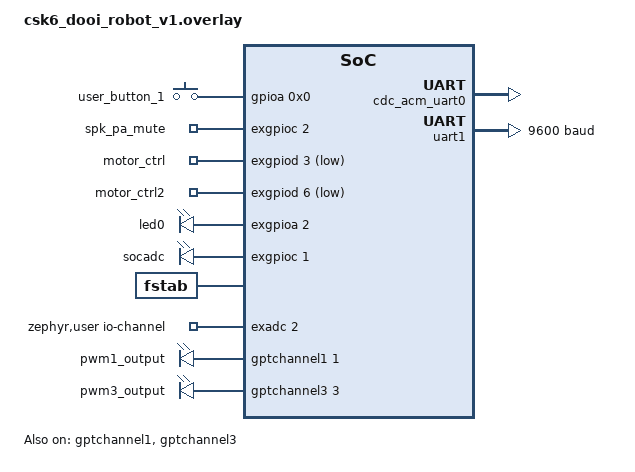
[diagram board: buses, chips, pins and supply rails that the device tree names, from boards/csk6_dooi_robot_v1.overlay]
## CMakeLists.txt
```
# SPDX-License-Identifier: Apache-2.0

cmake_minimum_required(VERSION 3.20.0)

set(SDK_ROOT_PATH   ${CMAKE_CURRENT_SOURCE_DIR}/../../..)
set(BOARD_ROOT      ${SDK_ROOT_PATH})
set(SNIPPET_ROOT    ${SDK_ROOT_PATH}/boards)

list(APPEND ZEPHYR_EXTRA_MODULES ${SDK_ROOT_PATH}/components)
list(APPEND ZEPHYR_EXTRA_MODULES ${SDK_ROOT_PATH}/components/audioplayer)

find_package(Zephyr REQUIRED HINTS $ENV{ZEPHYR_BASE})
project(llm_control)

target_sources(app PRIVATE 
        src/main.c 
        # src/aiui_nlp_consumer.c
        )

target_link_libraries(app PRIVATE ls_chat lisa)

add_subdirectory(src/app_ui/)
add_subdirectory(src/app_connect)
add_subdirectory(src/app_obj_recognition)
add_subdirectory(src/app_camera)
add_subdirectory(src/app_chat)
add_subdirectory(src/app_wifi_qrcode_scan)
add_subdirectory(src/app_dev_qrcode_scan)
add_subdirectory(src/app_download)
add_subdirectory(src/app_http_server)
add_subdirectory(src/app_peripheral)
add_subdirectory(src/app_ble_connect)
add_subdirectory(lib/ico)

zephyr_include_directories(src/)

if(CONFIG_APPLICATION_PACK_IMAGES)
    add_subdirectory(image)
endif()

zephyr_library_sources_ifdef(CONFIG_GCL_COMP_RES       resource/resource.c)
zephyr_include_directories_ifdef(CONFIG_GCL_COMP_RES   resource)
# target_include_directories(app PRIVATE src)
zephyr_library_link_libraries(lsf_client)
```

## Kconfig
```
# SPDX-License-Identifier: Apache-2.0

config APPLICATION_PACK_IMAGES
	bool "Package all algorithm resources, CP firmware and AP firmware into one image file"
	default n

config DRIVER_NON_BLOCK_INIT
   bool "Driver Non-Block Init"
   default y

config WAKEUP_DEBUG
   bool "wakeup debug enable"
   default n

config WDT_MGR
   bool "wdt enable"
   default n
   select WATCHDOG
   select WDT_CSK6

config SNTP_SERVER1
    string "SNTP Server"
    default "ntp.aliyun.com"

config SNTP_SERVER2
    string "SNTP Server"
    default "time1.cloud.tencent.com"

config SNTP_SERVER3
    string "SNTP Server"
    default "ntp.tuna.tsinghua.edu.cn"

config SNTP_SERVER4
    string "SNTP Server"
    default "ntp.ntsc.ac.cn"

config SNTP_SERVER5
    string "SNTP Server"
    default "cn.ntp.org.cn"

config HF_EXHIBITION
    bool "FOR hefei Exhibition"
    default n

config UART_DISP_EN
    bool "UART DISP ENABLE"
    default n

if APPLICATION_PACK_IMAGES

	#custon linker
	config HAVE_CUSTOM_LINKER_SCRIPT
		default y

	config CUSTOM_LINKER_SCRIPT
		default "image/linker_flash_partitions.ld"

	rsource "image/Kconfig.images"

endif

rsource "Kconfig.capability"
source "Kconfig.zephyr"
```

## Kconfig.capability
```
# SPDX-License-Identifier: Apache-2.0


config CAPABILITY_WAKEUP
	bool "Enable voice wake-up"
    select GCP
    select GCL_COMP_RES
    select GCS_SERVICE_WAKEUP
    select GCL_WAKEUP
	default n

config CAPABILITY_SPD
	bool "Enable SPD"
    select GCP
    select GCL_COMP_RES
    select GCS_SERVICE_SPD
    select GCL_SPD
	default n

config CAPABILITY_QRCODE
	bool "Enable qrcode"
    select GCP
    select GCL_COMP_RES
    select GCS_SERVICE_QRCODE
    select GCL_QRCODE
	default n

if CAPABILITY_WAKEUP
    config GCL_HEAP_SRAM_SIZE
        default 40960

    config GCL_HEAP_PSRAM_SIZE
        default 153600

    config GCL_HEAP_SRAM_NOCACHE_SIZE
        default 20480

    config GCL_HEAP_PSRAM_NOCACHE_SIZE
        default 20480
endif
```

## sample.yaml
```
sample:
  name: LLM_pic
tests:
  apps.LLM_pic:
    build_only: true
    platform_allow:
      - csk6_duomotai_devkit
```

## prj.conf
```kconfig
CONFIG_MAIN_STACK_SIZE=4096
CONFIG_HEAP_MEM_POOL_SIZE=61440
# CONFIG_CSK_HEAP_MEM_POOL_SIZE=102400
CONFIG_SYSTEM_WORKQUEUE_STACK_SIZE=6144

CONFIG_WIFI_MGR=y
CONFIG_WIFI_MGR_WORKQ_STACK=2048
CONFIG_WIFI_CTRL_STACK_SIZE=2048
CONFIG_CSK_WIFI_NET_ALLOC_PSRAM=y

CONFIG_DUOMOTAI_COMPONENTS=y

# shell
CONFIG_SHELL_LOG_BACKEND=n
CONFIG_SHELL_THREAD_PRIORITY_OVERRIDE=y
CONFIG_SHELL_THREAD_PRIORITY=10

# lisa player
CONFIG_LISA_PLAYER=y
CONFIG_LISA_HEAP_ARENA_SIZE=1280000

# mDNS 核心配置
CONFIG_MDNS_RESPONDER=y
CONFIG_DNS_SD=y
CONFIG_NET_HOSTNAME_ENABLE=y
CONFIG_NET_HOSTNAME="dooi"  # 自定义设备名

# 多播支持
CONFIG_NET_IPV4_IGMP=y  # IPv4多播

# Sockets
CONFIG_NET_SOCKETS=y
CONFIG_NET_SOCKETS_POSIX_NAMES=y
CONFIG_NET_SOCKETS_POLL_MAX=4
CONFIG_NET_CONTEXT_RCVTIMEO=y

CONFIG_NET_PKT_RX_COUNT=600
CONFIG_NET_PKT_TX_COUNT=600
CONFIG_NET_BUF_RX_COUNT=600
CONFIG_NET_BUF_TX_COUNT=600

CONFIG_NET_RX_STACK_SIZE=4096
CONFIG_NET_TX_STACK_SIZE=4096
CONFIG_NET_CONTEXT_NET_PKT_POOL=y
CONFIG_NET_TCP_WORKQ_STACK_SIZE=4096

CONFIG_DNS_RESOLVER_ADDITIONAL_QUERIES=2
CONFIG_DNS_RESOLVER_MAX_SERVERS=5
CONFIG_DNS_NUM_CONCUR_QUERIES=5
CONFIG_DNS_RESOLVER_ADDITIONAL_BUF_CTR=4
CONFIG_NET_MAX_CONN=10
CONFIG_NET_MAX_CONTEXTS=10
CONFIG_POSIX_MAX_FDS=10
CONFIG_SNTP=y
# Logger
CONFIG_LOG=y
CONFIG_LOG_MODE_MINIMAL=n
CONFIG_LOG_MODE_DEFERRED=y
CONFIG_LOG_BUFFER_SIZE=10240
CONFIG_LOG_BACKEND_SHOW_COLOR=y
CONFIG_LOG_BACKEND_FORMAT_TIMESTAMP=y
CONFIG_LOG_BACKEND_UART=y
CONFIG_LOG_BACKEND_UART_OUTPUT_TEXT=y
CONFIG_LOG_PROCESS_THREAD_STACK_SIZE=1024

### NEWLIBC ###
CONFIG_NEWLIB_LIBC=y
CONFIG_NEWLIB_LIBC_FLOAT_PRINTF=y
CONFIG_NEWLIB_LIBC_FLOAT_SCANF=y
CONFIG_NEWLIB_LIBC_MIN_REQUIRED_HEAP_SIZE=4096

# csk heap
CONFIG_CSK_HEAP=y
CONFIG_CSK_HEAP_MEM_POOL_SIZE=819200
CONFIG_SYS_HEAP_AUTO=y

# IC MESSAGE配置
CONFIG_LSF=y
CONFIG_LSF_CLIENT=y
CONFIG_LSF_OS_ZEPHYR=y
CONFIG_LSF_IC_MESSAGE_EP_ID=5
# CONFIG_LOG_PRINTK=y

# CONFIG_PRINTK=y
CONFIG_FLASH=y
CONFIG_FLASH_SHELL=n
CONFIG_FLASH_MAP=y
CONFIG_FILE_SYSTEM=y
CONFIG_FLASH_PAGE_LAYOUT=y
CONFIG_FILE_SYSTEM_LITTLEFS=y
CONFIG_APPLICATION_PACK_IMAGES=y

CONFIG_GCP=y
CONFIG_DISK_MEMORY=n

CONFIG_CAPABILITY_WAKEUP=y
CONFIG_CAPABILITY_QRCODE=y
CONFIG_WEBUSB_DEBUG=n
CONFIG_DISK_MEMORY=n

CONFIG_GCS_WAKEUP_SERVICE_EVENT_STACK_SIZE=2000

CONFIG_GPIO=y
CONFIG_GPIO_CSK6_CH32V003=y

CONFIG_I2C=y
CONFIG_VIDEO=y
CONFIG_VIDEO_CSK6_DVP=y
CONFIG_VIDEO_GC0328=y

CONFIG_VIDEO_BUFFER_POOL_SZ_MAX=154000
CONFIG_VIDEO_BUFFER_POOL_NUM_MAX=3
CONFIG_VIDEO_CUSTOM_SECTION=y
CONFIG_VIDEO_CUSTOM_SECTION_NAME=".psram_section"

# auth check
CONFIG_MBEDTLS=y
CONFIG_MBEDTLS_BUILTIN=y
CONFIG_MBEDTLS_ENTROPY_ENABLED=y
CONFIG_CUSTOM_MBEDTLS_CFG_FILE=y
CONFIG_MBEDTLS_CFG_FILE="config-tls-generic.h"
CONFIG_MBEDTLS_SSL_MAX_CONTENT_LEN=4096
CONFIG_MBEDTLS_DEBUG=y
CONFIG_MBEDTLS_SERVER_NAME_INDICATION=y
CONFIG_NET_SOCKETS_SOCKOPT_TLS=n
CONFIG_NET_SOCKETS_TLS_MAX_CONTEXTS=6

CONFIG_HTTP_CLIENT=y

CONFIG_THREAD_RUNTIME_STATS=y
CONFIG_THREAD_NAME=y

# extension gpio
CONFIG_I2C=y
CONFIG_I2C_SHELL=n
CONFIG_I2C_CSK6=y
CONFIG_GPIO_CSK6_CH32V003=y
CONFIG_ADC=y
CONFIG_ADC_SHELL=n
CONFIG_ADC_CSK6_CH32V003=y
CONFIG_ADC_CSK6_CH32V003_THREAD_STACK_SIZE=512
CONFIG_PWM=y
# CONFIG_PWM_SHELL=n
# CONFIG_PWM_CSK6=n
CONFIG_PWM_CSK6_CH32V003=y

CONFIG_LV_Z_MEM_POOL_NUMBER_BLOCKS=8

CONFIG_LVGL=y
CONFIG_LV_MEM_CUSTOM=y
CONFIG_LV_USE_LOG=y
CONFIG_LV_LOG_LEVEL_USER=y
CONFIG_LV_USE_LABEL=y
CONFIG_LV_USE_BTN=y
CONFIG_LV_USE_IMG=y
CONFIG_LV_FONT_MONTSERRAT_14=y
CONFIG_LV_FONT_MONTSERRAT_48=y

CONFIG_GPIO=y
CONFIG_SPI=y
CONFIG_DISPLAY=y
CONFIG_DISPLAY_LOG_LEVEL_ERR=y

CONFIG_KSCAN=y
CONFIG_I2C=y
CONFIG_KSCAN_FT5336=y
CONFIG_KSCAN_FT5336_INTERRUPT=y

# 触摸驱动
# CONFIG_LV_Z_POINTER_KSCAN=y
# CONFIG_LV_Z_POINTER_KSCAN_DEV_NAME="FT5336"
# CONFIG_LV_Z_POINTER_KSCAN_SWAP_XY=n
# CONFIG_LV_Z_POINTER_KSCAN_INVERT_Y=n
# CONFIG_LV_Z_POINTER_KSCAN_INVERT_X=y

# 改配置为专为CSK6优化后的ST7789V驱动
# CONFIG_ST7789V_CSK6=y
CONFIG_DUAL_GC9A01_CSK6=y

# ST7789V默认被打开了，需要手动关闭
CONFIG_ST7789V=n

# zephyr原有的驱动也是可以用的，只是帧率没有优化后的高
# CONFIG_ST7789V=y
# 在驱动层可支持90度旋转
CONFIG_ST7789V_CSK6_ROTATE_90=n

# 使用优化后的驱动后，配置此宏可以使用专为优化驱动的LVGL适配层
CONFIG_LV_Z_DRIVER_CSK6_16BIT=y

# 如需要旋转90度的话，zephyr适配层也要配置该宏
# 因ST7789V的IC从GRAM中读取数据的方向不能改变，
# 如果使用驱动IC的方向旋转的话，可能出现斜方向的撕裂
# 但如果在驱动层使用90°旋转的话，则只会存在Y方向的撕裂，
# Y方向的撕裂可以通过加TE引脚来解决
CONFIG_LV_Z_DRIVER_CSK6_16BIT_ROTATE_90=n

CONFIG_LV_Z_DRIVER_CSK6_KSAN_FILTER_TIME_MS=50

# 双缓冲区会提高帧率，占会大量占用内存
# 在开启双缓冲区的情况下，确保LVGL线程不是协程，
# 且COFNIG_LV_Z_DRIVER_SPD2010_THREAD_PRIORITY的优先级必须要高于LVGL线程
# 否则将会发生死锁
# 
# CONFIG_LV_Z_DOUBLE_VDB=y
# CONFIG_LV_Z_DRIVER_CSK6_16BIT_THREAD_PRIORITY=1

CONFIG_LV_Z_VDB_SIZE=100

### 专为CSK6优化的LVGL适配层，可以自定义heap

# LVGL-ZEPHYR接口 自定义heap段
CONFIG_LV_Z_MEM_CUSTOM_SECTION=y
CONFIG_LV_Z_MEM_CUSTOM_SECTION_NAME=".psram_section"

# 自定义内存的大小配置，包含所有的LVGL对象  
CONFIG_LV_Z_MEM_POOL_MAX_SIZE=1024
CONFIG_LV_Z_MEM_POOL_NUMBER_BLOCKS=640

# 使用PSRAM的话，必须打开这个宏，这样所有的LVGL对象都从自定义段中分配内存  
CONFIG_LV_MEM_CUSTOM=y

## LVGL显存内存池配置，使用PSRAM的话 必须打开这个宏
CONFIG_LV_Z_BUFFER_ALLOC_DYNAMIC=y

CONFIG_LV_FONT_MONTSERRAT_20=n
CONFIG_LV_FONT_MONTSERRAT_18=n
CONFIG_LV_FONT_MONTSERRAT_12=n
# CONFIG_LV_USE_DEMO_BENCHMARK=y
# CONFIG_LV_USE_DEMO_WIDGETS=y
CONFIG_LV_COLOR_DEPTH_16=y
CONFIG_LV_COLOR_16_SWAP=n

# CONFIG_LV_USE_PERF_MONITOR=y
# CONFIG_LV_PERF_MONITOR_ALIGN_BOTTOM_RIGHT=y
CONFIG_LV_USE_PNG=y
CONFIG_LV_USE_SJPG=y
CONFIG_LV_USE_GIF=y

CONFIG_PRODUCT_ID_STRING="75471b7a-ae97-4048-bdc8-529c97cc713b"
CONFIG_SECRET_ID_STRING="56d6c961-725d-40d9-8028-2cc0158c7e58"

CONFIG_BASE64=y

CONFIG_VIDEO=y
CONFIG_VIDEO_CSK6_DVP=y
CONFIG_VIDEO_GC0328=y
CONFIG_VIDEO_BUFFER_POOL_SZ_MAX=154624
CONFIG_VIDEO_BUFFER_POOL_NUM_MAX=3
CONFIG_VIDEO_CUSTOM_SECTION=y
CONFIG_VIDEO_CUSTOM_SECTION_NAME=".psram_section"

#USB CDC ACM related configs
CONFIG_USB_DEVICE_STACK=y
CONFIG_USB_DEVICE_PRODUCT="Zephyr CDC ACM sample"
CONFIG_USB_DEVICE_PID=0x0001
CONFIG_SERIAL=y
CONFIG_UART_INTERRUPT_DRIVEN=y
CONFIG_UART_LINE_CTRL=y
CONFIG_USB_DEVICE_INITIALIZE_AT_BOOT=n

CONFIG_HOSTED_TRANSACTION_STACK=1024
CONFIG_HOSTED_PROCESS_RX_STACK=1024

CONFIG_APP_PLAYER=y

# CONFIG_LISA_PLAYER_SOURCE_MODE=y
CONFIG_LS_CHAT=y
CONFIG_POSIX_API=y
# CONFIG_NET_SOCKETS_POSIX_NAMES=y
CONFIG_NET_TCP_ISN_RFC6528=n
CONFIG_MBEDTLS=n
CONFIG_WEBSOCKET_CLIENT=n



CONFIG_NET_SOCKETS=y
CONFIG_NET_SOCKETS_POSIX_NAMES=y
CONFIG_NET_SOCKETS_POLL_MAX=4
CONFIG_NET_CONTEXT_RCVTIMEO=y

CONFIG_NET_PKT_RX_COUNT=600
CONFIG_NET_PKT_TX_COUNT=600
CONFIG_NET_BUF_RX_COUNT=1400
CONFIG_NET_BUF_TX_COUNT=1400

CONFIG_NET_TCP=y
CONFIG_NET_UDP=y
CONFIG_NET_TCP_MAX_RECV_WINDOW_SIZE=25600
CONFIG_NET_TCP_MAX_SEND_WINDOW_SIZE=25600
CONFIG_NET_RX_STACK_SIZE=4096
CONFIG_NET_TX_STACK_SIZE=4096
CONFIG_NET_CONTEXT_NET_PKT_POOL=y
CONFIG_NET_TCP_WORKQ_STACK_SIZE=4096

CONFIG_DNS_RESOLVER_ADDITIONAL_QUERIES=2
CONFIG_DNS_RESOLVER_MAX_SERVERS=5
CONFIG_DNS_NUM_CONCUR_QUERIES=5
CONFIG_DNS_RESOLVER_ADDITIONAL_BUF_CTR=4
CONFIG_NET_MAX_CONN=10
CONFIG_NET_MAX_CONTEXTS=10
CONFIG_POSIX_MAX_FDS=10

# CONFIG_WIFI_MGR=y
# CONFIG_WIFI_MGR_WORKQ_STACK=2048
# CONFIG_WIFI_CTRL_STACK_SIZE=2048
# CONFIG_CSK_WIFI_NET_ALLOC_PSRAM=y

CONFIG_HTTP_CLIENT=y
CONFIG_NET_SOCKETS_POSIX_NAMES=y
CONFIG_NETWORKING=y
CONFIG_NET_SOCKETS_SOCKOPT_TLS=n

CONFIG_WIFI=y
CONFIG_WIFI_CSK6=y
CONFIG_CSK_WIFI_NET_ALLOC_PSRAM=y
CONFIG_NET_L2_ETHERNET=y


CONFIG_WIFI=y
CONFIG_CSK_WIFI_STATION=y
CONFIG_NET_L2_ETHERNET=y

CONFIG_NETWORKING=y
CONFIG_NET_DHCPV4=y
CONFIG_NET_IPV4=y
CONFIG_NET_SOCKETS=y
CONFIG_NET_SOCKETS_POSIX_NAMES=y

CONFIG_NET_MGMT=y
CONFIG_NET_MGMT_EVENT=y
CONFIG_NET_MGMT_EVENT_STACK_SIZE=4096

CONFIG_NET_RX_STACK_SIZE=2048
CONFIG_NET_TX_STACK_SIZE=2048
# CONFIG_NET_PKT_RX_COUNT=16
# CONFIG_NET_PKT_TX_COUNT=16
# CONFIG_NET_BUF_RX_COUNT=64
# CONFIG_NET_BUF_TX_COUNT=64
CONFIG_NET_CONTEXT_NET_PKT_POOL=y
CONFIG_LISTENAI_CMD=y
CONFIG_NET_MAX_CONTEXTS=20
CONFIG_NET_MAX_CONN=20

CONFIG_NET_SOCKETS_CONNECT_TIMEOUT=10000
CONFIG_NET_SOCKETS_DNS_TIMEOUT=10000


CONFIG_BT_HCI_ACL_FLOW_CONTROL=n

# Bluetooth Core
CONFIG_BT=y
CONFIG_BT_PERIPHERAL=y
CONFIG_ESP_HOSTED=y
CONFIG_BT_BROADCASTER=y
CONFIG_BT_DEVICE_NAME="LS_BLE"
CONFIG_BT_DEVICE_APPEARANCE=833
CONFIG_BT_MAX_CONN=1
CONFIG_BT_HCI_CORE_LOG_LEVEL_DBG=n
CONFIG_BT_DEBUG_HCI_CORE=n
CONFIG_BT_DEBUG_HCI_DRIVER=n
CONFIG_BT_DEBUG_L2CAP=n
CONFIG_BT_DEBUG_CONN=n
CONFIG_BT_DEBUG_SETTINGS=n

# Device Information Service
CONFIG_BT_DIS=y
CONFIG_BT_DIS_PNP=n
CONFIG_BT_DIS_MODEL="Zephyr Model"
CONFIG_BT_DIS_MANUF="Zephyr"
CONFIG_BT_DIS_SERIAL_NUMBER=y
CONFIG_BT_DIS_FW_REV=y
CONFIG_BT_DIS_HW_REV=y
CONFIG_BT_DIS_SW_REV=y
CONFIG_BT_DIS_SERIAL_NUMBER_STR="Zephyr Serial"
CONFIG_BT_DIS_FW_REV_STR="Zephyr Firmware"
CONFIG_BT_DIS_HW_REV_STR="Zephyr Hardware"
CONFIG_BT_DIS_SW_REV_STR="Zephyr Software"

# Settings
CONFIG_BT_SETTINGS=y
CONFIG_SETTINGS=y
CONFIG_SETTINGS_RUNTIME=y
# CONFIG_SETTINGS_NVS=y
# CONFIG_NVS=y
CONFIG_BT_DIS_SETTINGS=y
CONFIG_BT_DIS_STR_MAX=21

# GATT Settings
CONFIG_BT_GATT_DYNAMIC_DB=y
CONFIG_BT_GATT_CACHING=y
CONFIG_BT_GATT_SERVICE_CHANGED=y

# Enable MTU Exchange
CONFIG_BT_GATT_CLIENT=y
CONFIG_BT_GATT_AUTO_UPDATE_MTU=y

CONFIG_BT_SMP=y
CONFIG_BT_EXT_ADV=y

CONFIG_BT_EAD=y

# BLE Configuration
CONFIG_BT_L2CAP_TX_MTU=128
CONFIG_BT_L2CAP_TX_BUF_COUNT=2
CONFIG_BT_ATT_PREPARE_COUNT=2
CONFIG_BT_CONN_TX_MAX=2
CONFIG_BT_BUF_ACL_RX_SIZE=128
CONFIG_BT_BUF_ACL_TX_SIZE=128
CONFIG_BT_CTLR_DATA_LENGTH_MAX=128
```

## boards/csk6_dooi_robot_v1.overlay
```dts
/*
 * Copyright (c) 2021 listenai Intelligent Technology (anhui) Co., Ltd.
 *
 * SPDX-License-Identifier: Apache-2.0
 */
 
/delete-node/ &storage_partition;

/* 删除掉系统dts默认配置的参数 */
/delete-node/ &psram_ap;
/delete-node/ &psram_cp;
/delete-node/ &psram_share;
/delete-node/ &wifi_driver_storage;
/delete-node/ &wifi_nvs_storage;

/ {
        chosen {
                zephyr,code-partition = &ap_code_partition;
                resource,cp = &cp_code_partition;
                resource,littlefs = &littlefs_partition;
                resource,wakeup_cae_mlp = &wakeup_cae_mlp_partition;
                resource,wakeup_esr_mlp = &wakeup_esr_mlp_partition;
                resource,wakeup_esr_main = &wakeup_esr_main_partition;
                resource,wakeup_esr_cmds = &wakeup_esr_cmds_partition;
                resource,wakeup_ai_wrap_conf = &wakeup_ai_wrap_conf_partition;
                resource,qrcode_detect = &qrcode_detect_partition;
                zephyr,display=&dual_gc9a01; 
        };
        aliases {
                spk-pa-mute = &spk_pa_mute;

                motor-ctrl = &motor_ctrl;
                motor-ctrl2 = &motor_ctrl2;
       
                gpioa1 = &gpioa1;
                gpioa2 = &gpioa2;
                gpioa3 = &gpioa3;

                gpiob7 = &gpiob7;

                pwm1-servo = &pwm1_output;
                pwm3-servo = &pwm3_output;

                led0 = &led0;

                socadc = &socadc;

                sw0 = &user_button_0;
                sw1 = &user_button_1;
        };
        gpio_keys {
                compatible = "gpio-keys";
                user_button_1: button_1 {
                        gpios = <&gpioa 0x0 0x0>;
                };
        };
        gpio,user {
                compatible = "listenai,csk-gpio-user";
                gpiob7: gpiob7 {
                gpios = <&gpiob 0x7 0x0>;
                label = "gpiob_7";
                };
                gpioa1: gpioa1 {
                gpios = <&gpioa 0x1 0x0>;
                label = "gpioa_1";
                };
                gpioa2: gpioa2 {
                gpios = <&gpioa 0x2 0x0>;
                label = "gpioa_2";
                };
                gpioa3: gpioa3 {
                gpios = <&gpioa 0x3 0x0>;
                label = "gpioa_0";
                };
        };
        leds {
                compatible = "gpio-leds";
                spk_pa_mute: spk_pa_mute {
                        gpios = <&exgpioc 2 GPIO_ACTIVE_HIGH>;
                };
                motor_ctrl: motor_ctrl{
                        gpios = <&exgpiod 3 GPIO_ACTIVE_LOW>;
                };
                motor_ctrl2:motor_ctrl2{
                        gpios = <&exgpiod 6 GPIO_ACTIVE_LOW>;
                };

                led0:led0{
                        gpios = <&exgpioa 2 GPIO_ACTIVE_HIGH>;
                };
                socadc:socadc{
                        gpios = <&exgpioc 1 GPIO_ACTIVE_HIGH>;
                };
        };

        fstab {
		compatible = "zephyr,fstab";
		lfs1: lfs1 {
			compatible = "zephyr,fstab,littlefs";
			mount-point = "/lfs";
			partition = <&littlefs_partition>;
			automount ;
			read-size = <16>;
			prog-size = <16>;
			cache-size = <64>;
			lookahead-size = <32>;
			block-cycles = <4096>;
		};
	};
        zephyr,user {
                /* this use ch2*/
                io-channels = <&exadc 2>;  
        };
};


&gptchannel1 {
    compatible = "listenai,csk-pwm";

    status = "okay";
    channel_mode = <1>;  /* 0: timer; 1:pwm */

    clock-prescaler = <64>;
    pinctrl-0 = <&pinctrl_pwm1_default>;
    pinctrl-names = "default";
};

&gptchannel3 {
    compatible = "listenai,csk-pwm";

    status = "okay";
    channel_mode = <1>;  /* 0: timer; 1:pwm */

    clock-prescaler = <64>;
    pinctrl-0 = <&pinctrl_pwm3_default>;
    pinctrl-names = "default";
};

&pinctrl{
    pinctrl_pwm1_default: pwm1_default {
        pinctrls = <GPT_PWM_1_GPIOA_01>;
    };


    pinctrl_pwm3_default: pwm3_default {
        pinctrls = <GPT_PWM_3_GPIOA_03>;
    };
};


/{
    pwms {
        compatible = "pwm-leds";

        pwm1_output: pwm1_output {
            pwms = <&gptchannel1 1 PWM_MSEC(20) PWM_POLARITY_NORMAL>;
        };

        pwm3_output: pwm3_output {
            pwms = <&gptchannel3 3 PWM_MSEC(20) PWM_POLARITY_NORMAL>;
        };
    };
};

&flash0 {
        /*
        * For more information, see:
        * http: //docs.zephyrproject.org/latest/guides/dts/index.html#flash-partitions
        */
        reg = <0x18000000 DT_SIZE_M(16)>;
        write-block-size = <4>;
        partitions {
                compatible = "fixed-partitions";
                #address-cells = <1>;
                #size-cells = <1>;
                ap_code_partition: partition@0 {
                        label = "ap_code";
                        reg = <0x00000 0x400000>;
                };

                cp_code_partition: partition@400000 {
                        label = "cp_code";
                        reg = <0x400000 0x100000>;
                };

                littlefs_partition: partition@500000 {
                        label = "littlefs_partition";
                        reg = < 0x500000 0x100000 >;
                };        
                wakeup_cae_mlp_partition: partition@600000 {
                        label = "wakeup_cae_mlp_partition";
                        reg = < 0x600000 0x186a00 >;
                };
                wakeup_esr_mlp_partition: partition@800000 {
                        label = "wakeup_esr_mlp_partition";
                        reg = < 0x800000 0xDE800 >;
                };
                wakeup_esr_main_partition: partition@A00000 {
                        label = "wakeup_esr_main_partition";
                        reg = < 0xA00000 0x10000 >;
                };
                wakeup_esr_cmds_partition: partition@A10000 {
                        label = "wakeup_esr_cmds_partition";
                        reg = < 0xA10000 0x10000 >;
                };
                wakeup_ai_wrap_conf_partition: partition@A20000 {
                        label = "wakeup_ai_wrap_conf_partition";
                        reg = < 0xA20000 0x1000 >;
                };

                storage_partition: partition@A30000 {
                        label = "storage";
                        reg = < 0xA30000 0x5000 >;
                };

                qrcode_detect_partition: partition@A35000 {
                        label = "qrcode_detect_partition";
                        reg = < 0xA35000 0xc0000 >;
                };
                user_nvs_storage: partition@AF5000{
                        reg = <0xAF5000 0x4000>;
                };
                /* wifi_nvs_storage: 64Kb */
                wifi_nvs_storage: partition@FED000 {
                    reg = <0xFED000 0x10000>;
                };
                /* lisa_nvs_storage: 8Kb */
                lisa_nvs_storage: partition@FFD000 {
                    reg = <0xFFD000 0x2000>;
                };

        };
};

&psram0{
        compatible = "listenai,csk6-psram";
        reg = <0x30000000 0x800000>;
        #label = "psram0";
        #address-cells = <0x1>;
        #size-cells = <0x1>;
        psram_cp: psram_cp@30000000 {
                compatible = "listenai,csk6-psram-partition";
                reg = <0x30000000 0x3A0000>;
                status = "okay";
        };
        psram_ap: psram_ap@303A0000 {
                compatible = "zephyr,memory-region",
                             "listenai,csk6-psram-partition";
                reg = <0x303A0000 0x460000>;
                status = "okay";
                zephyr,memory-region = "PSRAMAP";
        };
};

&sram0{
        reg = < 0x80000 0x40000 >;
};

&zephyr_udc0 {
	cdc_acm_uart0 {
		compatible = "zephyr,cdc-acm-uart";
	};
};

&uart1 {
	pinctrl-0 = <&pinctrl_uart1_rx_default &pinctrl_uart1_tx_default>;
	pinctrl-names = "default";
	current-speed = <9600>;
	status = "okay";
};

&pinctrl {
	pinctrl_uart1_rx_default: uart1_rx_default{
		pinctrls = <UART1_RXD_GPIOA_01>;              //rx pin
	};

	pinctrl_uart1_tx_default: uart1_tx_default{
		pinctrls = <UART1_TXD_GPIOA_00>;              //tx pin
	};
};
```

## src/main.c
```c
#include <zephyr/kernel.h>
#include <zephyr/devicetree.h>
#include <zephyr/storage/flash_map.h>
#include "boot_cp.h"
#include "ic_message.h"
#include <stdint.h>
#include <stddef.h>
#include <time.h>
#include "resource.h"
#include "app_player.h"
#include "app_connect.h"
#include "app_chat.h"
#include "app_chat_wakeup.h"
#include <zephyr/logging/log.h>
LOG_MODULE_REGISTER(main, LOG_LEVEL_INF);


#define CP_FLASH_BASE_ADDRESS (0x68000000)
#define FLASH_CP_IMAGE_REGION_OFFSET DT_REG_ADDR(DT_NODE_BY_FIXED_PARTITION_LABEL(cp_code))
#define CP_BOOT_ADDRESS (CP_FLASH_BASE_ADDRESS + FLASH_CP_IMAGE_REGION_OFFSET)

#define MAX_PLAYER_NUMS 3
player_focus_action_e ops_table[MAX_PLAYER_NUMS][MAX_PLAYER_NUMS] = {
		/*                   TONE_PLAYER                   TTS_PLAYER          MUSIC_PLAYER*/
		/*TONE_PLAYER*/ {PLAYER_FOCUS_CANCELED, PLAYER_FOCUS_CANCELED, PLAYER_FOCUS_PAUSED},
		/*TTS_PLAYER*/ {PLAYER_FOCUS_BACKOFF, PLAYER_FOCUS_CANCELED, PLAYER_FOCUS_PAUSED},
		/*MUSIC_PLAYER*/ {PLAYER_FOCUS_BACKOFF, PLAYER_FOCUS_QUEUED, PLAYER_FOCUS_CANCELED},
};

int main(void)
{
	boot_cp((const void *)CP_BOOT_ADDRESS);
#if (CONFIG_WAKEUP_DEBUG)
	extern void usb_cdc_acm_init(void);
	usb_cdc_acm_init();
#endif
	ic_message_init();
#if (CONFIG_GCL_COMP_RES)
	components_resource_load();
#endif

	srand((unsigned)time(NULL));
	
	extern void ble_connect_task_init();
	ble_connect_task_init();

	extern int camera_init(void);
	camera_init();

	app_player_config_t config = {
			.focus_config =
					{
							.focus_table = (player_focus_action_e *)ops_table,
							.row_column_num = MAX_PLAYER_NUMS,
					},
			.app_player_num = MAX_PLAYER_NUMS,
	};
	app_player_init(&config);

	app_chat_wakeup_init();

	app_connect_init();

	app_chat_init();
}
```

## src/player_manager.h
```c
#include "app_player.h"

#define TONE_PLAYER			0
#define TTS_PLAYER			1
#define MUSIC_PLAYER		2
```
